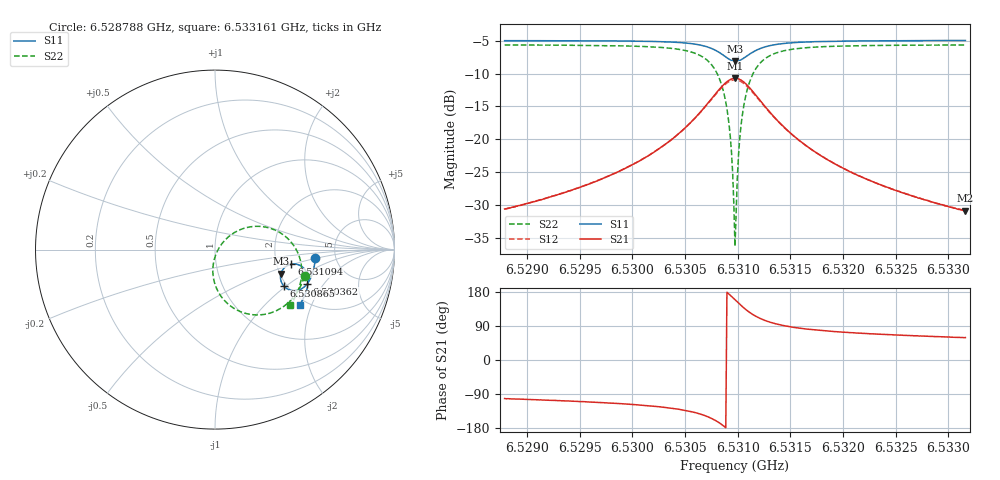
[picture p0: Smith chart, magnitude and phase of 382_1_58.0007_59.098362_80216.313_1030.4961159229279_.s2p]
#  HZ  S  RI  R  50.00
! Rohde & Schwarz Vector Network Analyzer
! Rohde-Schwarz,ZNB20-2Port,1311601062101988,3.16
! Created: UTC 3/21/2024, 1:07:22 AM
! freq[Hz]  re:S11  im:S11  re:S21  im:S21  re:S12  im:S12  re:S22  im:S22
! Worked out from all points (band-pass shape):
!   401 points, 6.528788 GHz to 6.533161 GHz, reference 50 ohm
!   highest |S21| = -10.73 dB at 6.530974 GHz (marker M1); lowest = -30.8 dB at 6.533161 GHz (marker M2)
!   |S21| within 3 dB of the highest: 6.530757 GHz to 6.531194 GHz (437.1 kHz wide, 0.00669 % of centre)
!   lowest |S11| = -8.2 dB at 6.530974 GHz (marker M3), VSWR 2.28, Z = 101 - j31.9 ohm
!   |S11| at or under -10 dB: nowhere
!   |S22| runs from -36.2 to -5.7 dB; largest |S21 - S12| = 0.011
!   S11 on the Smith chart (normalised r, x): 6.528788 GHz: 3.49, -0.47; 6.530362 GHz: 2.57, -1.40; 6.530865 GHz: 1.93, -0.97; 6.531094 GHz: 2.42, -0.48; 6.533161 GHz: 1.82, -1.65
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6.5287879e9  0.5594 -0.0465  -0.00603 -0.029  -0.00662 -0.0288  0.499 -0.1494
6.5295203e9  0.5501 -0.1067  -0.0148 -0.0413  -0.0158 -0.0409  0.47 -0.2164
6.5302527e9  0.5231 -0.1774  -0.0464 -0.0709  -0.0484 -0.0697  0.3931 -0.3089
6.530362e9  0.5143 -0.1903  -0.0588 -0.0787  -0.0611 -0.077  0.367 -0.3269
6.5307009e9  0.4522 -0.2282  -0.1542 -0.096  -0.1562 -0.0901  0.1863 -0.3592
6.5307993e9  0.413 -0.2237  -0.2145 -0.0726  -0.2143 -0.0639  0.0826 -0.3114
6.5308649e9  0.3839 -0.2036  -0.2579 -0.0281  -0.2538 -0.0189  0.0152 -0.2299
6.5309196e9  0.3672 -0.1724  -0.2799 0.0323  -0.2722 0.0398  -0.012 -0.1255
6.5309305e9  0.3657 -0.1649  -0.281 0.0465  -0.2727 0.0533  -0.0116 -0.1021
6.5309524e9  0.3649 -0.1492  -0.2793 0.0754  -0.2699 0.0808  -0.00411 -0.0547
6.5309633e9  0.3659 -0.1411  -0.276 0.09  -0.2666 0.0943  0.00323 -0.0315
6.5309742e9  0.3676 -0.1333  -0.2716 0.104  -0.2619 0.1075  0.0128 -0.00874
6.5309851e9  0.3704 -0.1256  -0.2656 0.1176  -0.2558 0.1202  0.0247 0.0127
6.5309961e9  0.3738 -0.1184  -0.2586 0.1307  -0.2487 0.1323  0.0385 0.0329
6.5310179e9  0.383 -0.1054  -0.2408 0.1536  -0.2314 0.1538  0.0713 0.0682
6.5310398e9  0.3941 -0.095  -0.2198 0.1723  -0.2113 0.1711  0.109 0.0953
6.5310945e9  0.4259 -0.081  -0.1621 0.1977  -0.1563 0.195  0.2085 0.1284
6.531171e9  0.4649 -0.0844  -0.0935 0.1957  -0.0906 0.1932  0.324 0.1131
6.5312803e9  0.4978 -0.1071  -0.0358 0.1659  -0.0343 0.1644  0.418 0.0486
6.5317066e9  0.5195 -0.1831  0.0142 0.0819  0.0151 0.0817  0.4831 -0.1293
6.5324391e9  0.4994 -0.2555  0.0168 0.0393  0.0175 0.0391  0.4556 -0.2449
6.5331606e9  0.4714 -0.3083  0.0147 0.0247  0.0153 0.0243  0.4203 -0.3069
